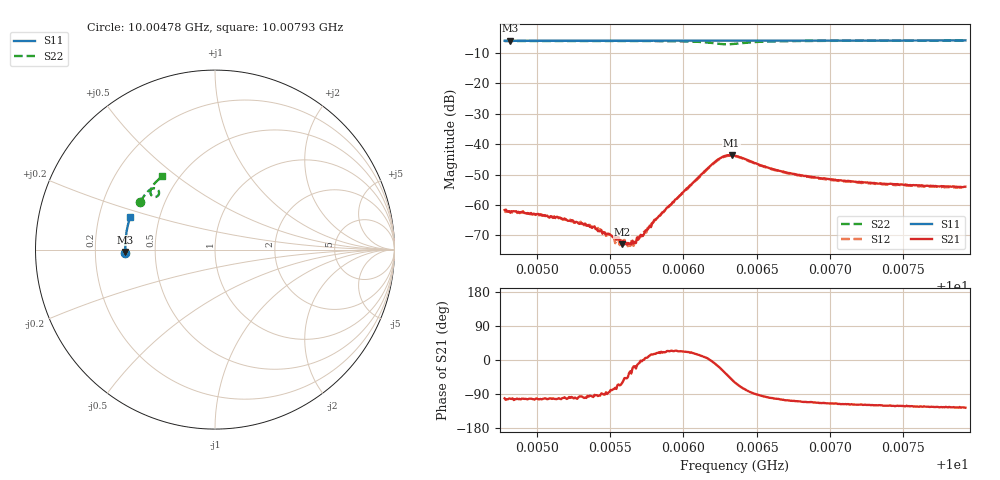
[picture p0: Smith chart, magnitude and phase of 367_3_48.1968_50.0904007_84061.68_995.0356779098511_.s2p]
#  HZ  S  RI  R  50.00
! Rohde & Schwarz Vector Network Analyzer
! Rohde-Schwarz,ZNB20-2Port,1311601062101988,3.16
! Created: UTC 3/20/2024, 11:52:33 AM
! freq[Hz]  re:S11  im:S11  re:S21  im:S21  re:S12  im:S12  re:S22  im:S22
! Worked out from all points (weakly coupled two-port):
!   401 points, 10.00478 GHz to 10.00793 GHz, reference 50 ohm
!   highest |S21| = -43.61 dB at 10.00633 GHz (marker M1); lowest = -73.0 dB at 10.00558 GHz (marker M2)
!   lowest |S11| = -6.0 dB at 10.00482 GHz (marker M3), VSWR 2.99, Z = 16.7 - j0.619 ohm
!   |S11| at or under -10 dB: nowhere
!   |S22| runs from -7.2 to -6.0 dB; largest |S21 - S12| = 0.00039
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1.000478e10  -0.499 -0.0164  -0.000161 -0.000807  -0.000142 -0.000766  -0.4168 0.2647
1.0004819e10  -0.4989 -0.0139  -0.000155 -0.000727  -0.000141 -0.000766  -0.4155 0.2669
1.0005016e10  -0.4996 -0.00112  -0.000165 -0.000682  -0.000118 -0.000663  -0.4085 0.2785
1.0005149e10  -0.4999 0.0075  -0.000114 -0.000592  -8.67e-05 -0.00058  -0.4037 0.2865
1.0005307e10  -0.4999 0.0178  -5.54e-05 -0.000499  -5.47e-05 -0.000483  -0.3973 0.2959
1.0005425e10  -0.4999 0.0253  -2.58e-05 -0.000369  5.17e-06 -0.000379  -0.3923 0.3029
1.0005542e10  -0.4997 0.0329  6.35e-05 -0.000262  8.81e-05 -0.000266  -0.3866 0.3101
1.000555e10  -0.4996 0.0337  0.000122 -0.000272  0.000102 -0.000266  -0.3863 0.3106
1.0005582e10  -0.4995 0.0356  0.00011 -0.000195  0.000116 -0.000225  -0.3846 0.3125
1.0005621e10  -0.4995 0.0382  0.000168 -0.000169  0.000156 -0.000141  -0.3826 0.3149
1.0005668e10  -0.4992 0.0411  0.000238 -6.99e-05  0.00024 -5.23e-05  -0.3799 0.3178
1.0005739e10  -0.499 0.0458  0.000372 3.3e-05  0.000356 5.51e-05  -0.3758 0.3223
1.0005771e10  -0.4987 0.0477  0.00045 9.58e-05  0.000453 0.000123  -0.3737 0.3244
1.0005833e10  -0.4985 0.052  0.000618 0.000231  0.000599 0.000252  -0.3693 0.3284
1.0006211e10  -0.4957 0.0761  0.00492 -0.000687  0.00488 -0.000439  -0.3149 0.3286
1.0006274e10  -0.4952 0.08  0.00543 -0.00311  0.00548 -0.00277  -0.3132 0.3076
1.0006329e10  -0.4948 0.0832  0.00416 -0.00512  0.00433 -0.0048  -0.3277 0.2941
1.0006352e10  -0.4946 0.0847  0.00326 -0.00557  0.00354 -0.00529  -0.3357 0.2929
1.0006612e10  -0.4925 0.1012  -0.00072 -0.0038  -0.000561 -0.00378  -0.3588 0.3311
1.0006879e10  -0.4892 0.1183  -0.00106 -0.00269  -0.000951 -0.00265  -0.3474 0.3548
1.0007406e10  -0.4812 0.1513  -0.00111 -0.00192  -0.000997 -0.00191  -0.3211 0.3848
1.0007925e10  -0.4712 0.1832  -0.00117 -0.00162  -0.00103 -0.00161  -0.2947 0.4085
